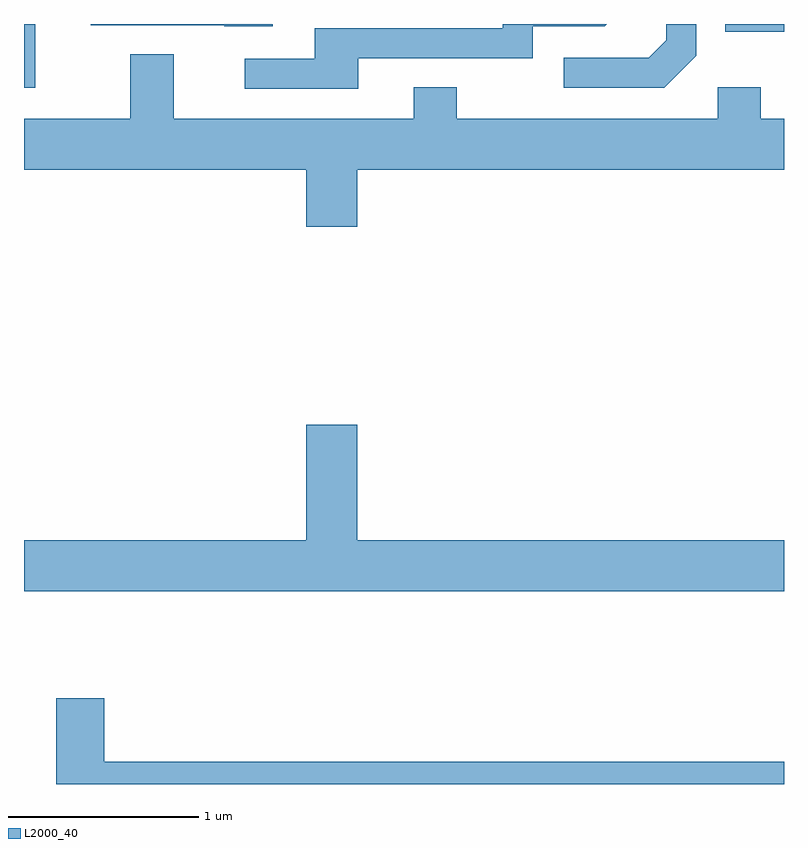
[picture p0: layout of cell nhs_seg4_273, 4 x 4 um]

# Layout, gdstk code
import gdstk
lib = gdstk.Library(unit=1e-6, precision=1e-09)
def R(c, l, rs):  # rectangles x0, y0, x1, y1
    for r in rs: c.add(gdstk.rectangle(r[:2], r[2:], *l))
def P(c, l, *ps):  # polygons
    for p in ps: c.add(gdstk.Polygon(p, *l))
L2000_40 = (2000, 40)

nhs_seg4_273 = lib.new_cell('nhs_seg4_273')
R(nhs_seg4_273, L2000_40, [(193.611,1259.646,193.669,1259.982), (197.301,1259.941,197.611,1259.982)])
P(nhs_seg4_273, L2000_40, [(197.149,1259.814),(197.149,1259.982),(196.991,1259.982),(196.991,1259.897),(196.899,1259.804),(196.453,1259.804),(196.453,1259.646),(196.982,1259.646)],
  [(194.919,1259.982),(193.961,1259.982),(193.961,1259.976),(194.665,1259.976),(194.665,1259.971),(194.919,1259.971)],
  [(195.369,1259.801),(196.289,1259.801),(196.289,1259.971),(196.667,1259.971),(196.678,1259.982),(196.131,1259.982),(196.131,1259.959),(195.141,1259.959),(195.141,1259.799),(194.773,1259.799),(194.773,1259.641),(195.369,1259.641)],
  [(195.364,1259.216),(197.611,1259.216),(197.611,1259.484),(197.489,1259.484),(197.489,1259.649),(197.261,1259.649),(197.261,1259.484),(195.889,1259.484),(195.889,1259.649),(195.661,1259.649),(195.661,1259.484),(194.399,1259.484),(194.399,1259.824),(194.171,1259.824),(194.171,1259.484),(193.611,1259.484),(193.611,1259.216),(195.096,1259.216),(195.096,1258.916),(195.364,1258.916)],
  [(197.611,1257.264),(195.364,1257.264),(195.364,1257.874),(195.096,1257.874),(195.096,1257.264),(193.611,1257.264),(193.611,1256.996),(197.611,1256.996)],
  [(197.611,1256.099),(194.034,1256.099),(194.034,1256.434),(193.781,1256.434),(193.781,1255.982),(197.611,1255.982)])

lib.write_gds('nhs_seg4_273.gds')
